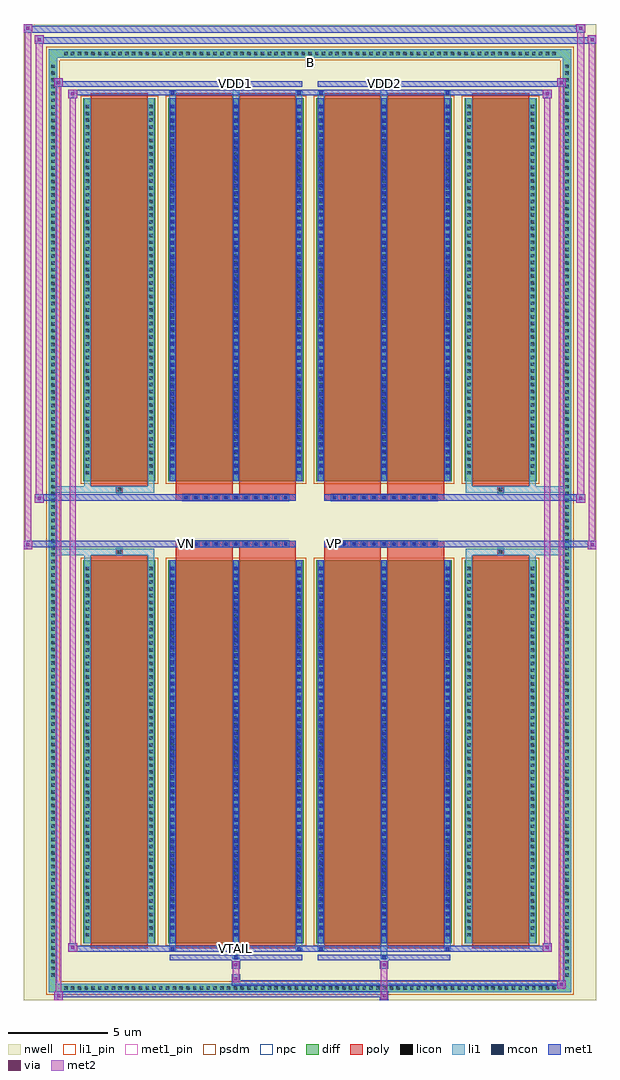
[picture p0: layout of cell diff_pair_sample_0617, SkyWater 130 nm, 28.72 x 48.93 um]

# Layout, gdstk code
import gdstk
lib = gdstk.Library(unit=1e-6, precision=5e-09)
def R(c, l, rs):  # rectangles x0, y0, x1, y1
    for r in rs: c.add(gdstk.rectangle(r[:2], r[2:], *l))
def A(c, l, x, y, w, h, nx, ny, dx, dy):  # array of equal rectangles
    R(c, l, [(x+i*dx, y+j*dy, x+i*dx+w, y+j*dy+h) for i in range(nx) for j in range(ny)])
def P(c, l, *ps):  # polygons
    for p in ps: c.add(gdstk.Polygon(p, *l))
nwell = (64, 20)
diff = (65, 20)
poly = (66, 20)
licon = (66, 44)
li1_pin = (67, 16)
li1 = (67, 20)
mcon = (67, 44)
met1_pin = (68, 16)
met1 = (68, 20)
via = (68, 44)
met2 = (69, 20)
psdm = (94, 20)
npc = (95, 20)

diff_pair_sample_0617 = lib.new_cell('diff_pair_sample_0617')
R(diff_pair_sample_0617, nwell, [(-14.36,-24.03,14.36,24.9), (-11.68,-22.22,-0.01,-0.8), (0.01,-22.22,11.68,-0.8), (-11.68,0.8,-0.01,22.22), (0.01,0.8,11.68,22.22)])
A(diff_pair_sample_0617, diff, -12.445, -23.63, 0.41, 0.41, 73, 2, 0.34, 46.85)
A(diff_pair_sample_0617, diff, -13.09, -22.985, 0.41, 0.41, 1, 135, 0, 0.34)
A(diff_pair_sample_0617, diff, 12.68, -22.985, 0.41, 0.41, 1, 135, 0, 0.34)
R(diff_pair_sample_0617, diff, [(-12.445,-23.63,12.445,-23.22), (-13.09,-22.985,-12.68,22.985), (12.68,-22.985,13.09,22.985), (-11.37,-21.175,-7.75,-1.985), (-7.11,-21.175,-0.32,-1.985), (0.32,-21.175,7.11,-1.985), (7.75,-21.175,11.37,-1.985), (-11.37,1.985,-7.75,21.175), (-7.11,1.985,-0.32,21.175), (0.32,1.985,7.11,21.175), (7.75,1.985,11.37,21.175), (-12.445,23.22,12.445,23.63)])
P(diff_pair_sample_0617, diff, [(13.09,23.63),(-13.09,23.63),(-13.09,-23.22),(-12.68,-23.22),(-12.68,23.22),(12.68,23.22),(12.68,-23.22),(-12.68,-23.22),(-13.09,-23.22),(-13.09,-23.63),(13.09,-23.63)])
A(diff_pair_sample_0617, poly, -6.38, -1.33, 0.33, 0.33, 11, 2, 0.5, 2.33)
A(diff_pair_sample_0617, poly, 1.05, -1.33, 0.33, 0.33, 11, 2, 0.5, 2.33)
R(diff_pair_sample_0617, poly, [(-10.98,-21.425,-8.14,-1.735), (-6.72,-21.425,-3.88,-1.735), (-3.55,-21.425,-0.71,-1.735), (0.71,-21.425,3.55,-1.735), (3.88,-21.425,6.72,-1.735), (8.14,-21.425,10.98,-1.735), (-9.725,-1.735,-9.395,-1.405), (-9.725,-1.735,-9.395,-1.405), (-6.72,-1.735,-3.88,-1.33), (-3.55,-1.735,-0.71,-1.33), (0.71,-1.735,3.55,-1.33), (3.88,-1.735,6.72,-1.33), (9.395,-1.735,9.725,-1.405), (9.395,-1.735,9.725,-1.405), (-6.72,-1.33,-0.71,-1), (0.71,-1.33,6.72,-1), (-6.72,1,-0.71,1.33), (0.71,1,6.72,1.33), (-6.72,1.33,-3.88,1.735), (-3.55,1.33,-0.71,1.735), (0.71,1.33,3.55,1.735), (3.88,1.33,6.72,1.735), (-9.725,1.405,-9.395,1.735), (-9.725,1.405,-9.395,1.735), (9.395,1.405,9.725,1.735), (9.395,1.405,9.725,1.735), (-10.98,1.735,-8.14,21.425), (-6.72,1.735,-3.88,21.425), (-3.55,1.735,-0.71,21.425), (0.71,1.735,3.55,21.425), (3.88,1.735,6.72,21.425), (8.14,1.735,10.98,21.425)])
A(diff_pair_sample_0617, licon, -12.325, -23.51, 0.17, 0.17, 73, 2, 0.34, 46.85)
A(diff_pair_sample_0617, licon, -12.97, -22.865, 0.17, 0.17, 1, 135, 0, 0.34)
A(diff_pair_sample_0617, licon, 12.8, -22.865, 0.17, 0.17, 1, 135, 0, 0.34)
A(diff_pair_sample_0617, licon, -11.23, -20.845, 0.17, 0.17, 1, 55, 0, 0.34)
A(diff_pair_sample_0617, licon, -8.06, -20.845, 0.17, 0.17, 1, 55, 0, 0.34)
A(diff_pair_sample_0617, licon, -6.97, -20.845, 0.17, 0.17, 3, 55, 3.17, 0.34)
A(diff_pair_sample_0617, licon, 0.46, -20.845, 0.17, 0.17, 3, 55, 3.17, 0.34)
A(diff_pair_sample_0617, licon, 7.89, -20.845, 0.17, 0.17, 1, 55, 0, 0.34)
A(diff_pair_sample_0617, licon, 11.06, -20.845, 0.17, 0.17, 1, 55, 0, 0.34)
A(diff_pair_sample_0617, licon, -6.3, -1.25, 0.17, 0.17, 11, 2, 0.5, 2.33)
A(diff_pair_sample_0617, licon, 1.13, -1.25, 0.17, 0.17, 11, 2, 0.5, 2.33)
A(diff_pair_sample_0617, licon, -11.23, 2.315, 0.17, 0.17, 1, 55, 0, 0.34)
A(diff_pair_sample_0617, licon, -8.06, 2.315, 0.17, 0.17, 1, 55, 0, 0.34)
A(diff_pair_sample_0617, licon, -6.97, 2.315, 0.17, 0.17, 3, 55, 3.17, 0.34)
A(diff_pair_sample_0617, licon, 0.46, 2.315, 0.17, 0.17, 3, 55, 3.17, 0.34)
A(diff_pair_sample_0617, licon, 7.89, 2.315, 0.17, 0.17, 1, 55, 0, 0.34)
A(diff_pair_sample_0617, licon, 11.06, 2.315, 0.17, 0.17, 1, 55, 0, 0.34)
R(diff_pair_sample_0617, licon, [(-9.645,-1.655,-9.475,-1.485), (9.475,-1.655,9.645,-1.485), (-9.645,1.485,-9.475,1.655), (9.475,1.485,9.645,1.655)])
R(diff_pair_sample_0617, li1_pin, [(-0.25,22.72,0.25,23.22)])
A(diff_pair_sample_0617, li1, -12.405, -23.59, 0.33, 0.33, 73, 2, 0.34, 46.85)
A(diff_pair_sample_0617, li1, -13.05, -22.945, 0.33, 0.33, 1, 135, 0, 0.34)
A(diff_pair_sample_0617, li1, 12.72, -22.945, 0.33, 0.33, 1, 135, 0, 0.34)
A(diff_pair_sample_0617, li1, -7.05, -21.175, 0.33, 19.19, 3, 2, 3.17, 23.16)
A(diff_pair_sample_0617, li1, 0.38, -21.175, 0.33, 19.19, 3, 2, 3.17, 23.16)
A(diff_pair_sample_0617, li1, -11.31, -20.925, 0.33, 0.33, 1, 55, 0, 0.34)
A(diff_pair_sample_0617, li1, -8.14, -20.925, 0.33, 0.33, 1, 55, 0, 0.34)
A(diff_pair_sample_0617, li1, -7.05, -20.925, 0.33, 0.33, 3, 55, 3.17, 0.34)
A(diff_pair_sample_0617, li1, 0.38, -20.925, 0.33, 0.33, 3, 55, 3.17, 0.34)
A(diff_pair_sample_0617, li1, 7.81, -20.925, 0.33, 0.33, 1, 55, 0, 0.34)
A(diff_pair_sample_0617, li1, 10.98, -20.925, 0.33, 0.33, 1, 55, 0, 0.34)
A(diff_pair_sample_0617, li1, -6.97, -20.845, 0.17, 0.17, 3, 52, 3.17, 0.36)
A(diff_pair_sample_0617, li1, -6.97, -20.845, 0.17, 18.53, 3, 2, 3.17, 23.16)
A(diff_pair_sample_0617, li1, 0.46, -20.845, 0.17, 0.17, 3, 52, 3.17, 0.36)
A(diff_pair_sample_0617, li1, 0.46, -20.845, 0.17, 18.53, 3, 2, 3.17, 23.16)
A(diff_pair_sample_0617, li1, -6.38, -1.33, 0.33, 0.33, 11, 2, 0.5, 2.33)
A(diff_pair_sample_0617, li1, 1.05, -1.33, 0.33, 0.33, 11, 2, 0.5, 2.33)
A(diff_pair_sample_0617, li1, -11.31, 2.235, 0.33, 0.33, 1, 55, 0, 0.34)
A(diff_pair_sample_0617, li1, -8.14, 2.235, 0.33, 0.33, 1, 55, 0, 0.34)
A(diff_pair_sample_0617, li1, -7.05, 2.235, 0.33, 0.33, 3, 55, 3.17, 0.34)
A(diff_pair_sample_0617, li1, 0.38, 2.235, 0.33, 0.33, 3, 55, 3.17, 0.34)
A(diff_pair_sample_0617, li1, 7.81, 2.235, 0.33, 0.33, 1, 55, 0, 0.34)
A(diff_pair_sample_0617, li1, 10.98, 2.235, 0.33, 0.33, 1, 55, 0, 0.34)
A(diff_pair_sample_0617, li1, -6.97, 2.315, 0.17, 0.17, 3, 52, 3.17, 0.36)
A(diff_pair_sample_0617, li1, 0.46, 2.315, 0.17, 0.17, 3, 52, 3.17, 0.36)
R(diff_pair_sample_0617, li1, [(-13.09,-23.63,-12.68,-23.22), (-13.09,-23.63,-12.68,-23.22), (-12.68,-23.63,12.68,-23.22), (12.68,-23.63,13.09,-23.22), (12.68,-23.63,13.09,-23.22), (-13.09,-23.22,-12.68,23.22), (12.68,-23.22,13.09,23.22), (-3.88,-21.98,-3.55,-21.175), (-3.8,-21.98,-3.63,-21.81), (3.55,-21.98,3.88,-21.175), (3.63,-21.98,3.8,-21.81), (-7.05,-21.55,-6.72,-21.175), (-6.97,-21.55,-6.8,-21.38), (-0.71,-21.55,-0.38,-21.175), (-0.63,-21.55,-0.46,-21.38), (0.38,-21.55,0.71,-21.175), (0.46,-21.55,0.63,-21.38), (6.72,-21.55,7.05,-21.175), (6.8,-21.55,6.97,-21.38), (-11.31,-21.175,-10.98,-1.985), (-8.14,-21.175,-7.81,-1.985), (7.81,-21.175,8.14,-1.985), (10.98,-21.175,11.31,-1.985), (-11.31,-1.985,-10.98,-1.405), (-8.14,-1.985,-7.81,-1.405), (7.81,-1.985,8.14,-1.405), (10.98,-1.985,11.31,-1.405), (-13.09,-1.735,-9.725,-1.405), (-11.31,-1.735,-9.725,-1.405), (-9.725,-1.735,-9.395,-1.405), (-9.395,-1.735,-7.81,-1.405), (7.81,-1.735,9.395,-1.405), (9.395,-1.735,9.725,-1.405), (9.395,-1.735,13.09,-1.405), (9.725,-1.735,11.31,-1.405), (-13.09,1.405,-9.725,1.735), (-11.31,1.405,-9.725,1.735), (-11.31,1.405,-10.98,1.985), (-9.725,1.405,-9.395,1.735), (-9.395,1.405,-7.81,1.735), (-8.14,1.405,-7.81,1.985), (7.81,1.405,9.395,1.735), (7.81,1.405,8.14,1.985), (9.395,1.405,9.725,1.735), (9.395,1.405,13.09,1.735), (9.725,1.405,11.31,1.735), (10.98,1.405,11.31,1.985), (-11.31,1.985,-10.98,21.175), (-8.14,1.985,-7.81,21.175), (7.81,1.985,8.14,21.175), (10.98,1.985,11.31,21.175), (-7.05,21.175,-6.72,21.55), (-3.88,21.175,-3.55,21.98), (-0.71,21.175,-0.38,21.55), (0.38,21.175,0.71,21.55), (3.55,21.175,3.88,21.98), (6.72,21.175,7.05,21.55), (-6.97,21.38,-6.8,21.55), (-0.63,21.38,-0.46,21.55), (0.46,21.38,0.63,21.55), (6.8,21.38,6.97,21.55), (-3.8,21.81,-3.63,21.98), (3.63,21.81,3.8,21.98), (-13.09,23.22,-12.68,23.63), (-13.09,23.22,-12.68,23.63), (-12.68,23.22,12.68,23.63), (12.68,23.22,13.09,23.63), (12.68,23.22,13.09,23.63)])
A(diff_pair_sample_0617, mcon, -6.97, -20.845, 0.17, 0.17, 3, 52, 3.17, 0.36)
A(diff_pair_sample_0617, mcon, 0.46, -20.845, 0.17, 0.17, 3, 52, 3.17, 0.36)
A(diff_pair_sample_0617, mcon, -6.3, -1.25, 0.17, 0.17, 11, 2, 0.5, 2.33)
A(diff_pair_sample_0617, mcon, 1.13, -1.25, 0.17, 0.17, 11, 2, 0.5, 2.33)
A(diff_pair_sample_0617, mcon, -6.97, 2.315, 0.17, 0.17, 3, 52, 3.17, 0.36)
A(diff_pair_sample_0617, mcon, 0.46, 2.315, 0.17, 0.17, 3, 52, 3.17, 0.36)
R(diff_pair_sample_0617, mcon, [(-3.8,-21.98,-3.63,-21.81), (3.63,-21.98,3.8,-21.81), (-6.97,-21.55,-6.8,-21.38), (-0.63,-21.55,-0.46,-21.38), (0.46,-21.55,0.63,-21.38), (6.8,-21.55,6.97,-21.38), (-6.97,21.38,-6.8,21.55), (-0.63,21.38,-0.46,21.55), (0.46,21.38,0.63,21.55), (6.8,21.38,6.97,21.55), (-3.8,21.81,-3.63,21.98), (3.63,21.81,3.8,21.98)])
R(diff_pair_sample_0617, met1_pin, [(-3.85,-21.59,-3.58,-21.32), (-6.35,-1.29,-6.08,-1.02), (1.08,-1.29,1.35,-1.02), (-3.85,21.77,-3.58,22.04), (3.58,21.77,3.85,22.04)])
A(diff_pair_sample_0617, met1, -7.03, -21.175, 0.29, 19.19, 3, 2, 3.17, 23.16)
A(diff_pair_sample_0617, met1, 0.4, -21.175, 0.29, 19.19, 3, 2, 3.17, 23.16)
A(diff_pair_sample_0617, met1, -7.03, -20.905, 0.29, 0.29, 3, 52, 3.17, 0.36)
A(diff_pair_sample_0617, met1, 0.4, -20.905, 0.29, 0.29, 3, 52, 3.17, 0.36)
A(diff_pair_sample_0617, met1, -6.36, -1.31, 0.29, 0.29, 11, 2, 0.5, 2.33)
A(diff_pair_sample_0617, met1, 1.07, -1.31, 0.29, 0.29, 11, 2, 0.5, 2.33)
A(diff_pair_sample_0617, met1, -7.03, 2.255, 0.29, 0.29, 3, 52, 3.17, 0.36)
A(diff_pair_sample_0617, met1, 0.4, 2.255, 0.29, 0.29, 3, 52, 3.17, 0.36)
R(diff_pair_sample_0617, met1, [(-12.82,-24.03,-12.39,-23.6), (3.5,-24.03,3.93,-23.6), (-12.82,-23.89,3.93,-23.6), (12.39,-23.46,12.82,-23.03), (-3.93,-23.32,12.82,-23.03), (-3.93,-23.18,-3.5,-22.75), (-3.93,-22.47,-3.5,-22.04), (3.5,-22.47,3.93,-22.04), (-7.03,-22.04,-0.4,-21.75), (-3.86,-22.04,-3.57,-21.75), (0.4,-22.04,7.03,-21.75), (3.57,-22.04,3.86,-21.75), (-12.11,-21.61,-11.68,-21.18), (-12.11,-21.61,-7.03,-21.32), (-7.03,-21.61,-6.74,-21.32), (-7.03,-21.61,-0.4,-21.32), (-0.69,-21.61,-0.4,-21.32), (-0.4,-21.61,0.4,-21.32), (0.4,-21.61,0.69,-21.32), (0.4,-21.61,7.03,-21.32), (6.74,-21.61,7.03,-21.32), (7.03,-21.61,12.11,-21.32), (11.68,-21.61,12.11,-21.18), (-14.36,-1.43,-13.93,-1), (13.93,-1.43,14.36,-1), (-14.36,-1.33,-0.71,-1), (-6.72,-1.33,-0.71,-1), (0.71,-1.33,6.72,-1), (0.71,-1.33,14.36,-1), (-13.79,0.9,-13.36,1.33), (13.36,0.9,13.79,1.33), (-13.79,1,-6.72,1.33), (-6.72,1,-0.71,1.33), (0.71,1,6.72,1.33), (6.72,1,13.79,1.33), (-12.11,21.18,-11.68,21.61), (11.68,21.18,12.11,21.61), (-12.11,21.32,-7.03,21.61), (-7.03,21.32,-6.74,21.61), (-7.03,21.32,-0.4,21.61), (-0.69,21.32,-0.4,21.61), (-0.4,21.32,0.4,21.61), (0.4,21.32,0.69,21.61), (0.4,21.32,7.03,21.61), (6.74,21.32,7.03,21.61), (7.03,21.32,12.11,21.61), (-12.82,21.75,-12.39,22.18), (-12.82,21.75,-7.03,22.04), (-7.03,21.75,-0.4,22.04), (-3.86,21.75,-3.57,22.04), (0.4,21.75,7.03,22.04), (3.57,21.75,3.86,22.04), (7.03,21.75,12.82,22.04), (12.39,21.75,12.82,22.18), (-13.79,23.9,-13.36,24.33), (-13.79,23.9,-11.68,24.23), (-11.68,23.9,11.68,24.23), (11.68,23.9,14.36,24.23), (13.93,23.9,14.36,24.33), (-14.36,24.47,-13.93,24.9), (-14.36,24.47,-11.68,24.8), (-11.68,24.47,11.68,24.8), (11.68,24.47,13.79,24.8), (13.36,24.47,13.79,24.9)])
R(diff_pair_sample_0617, via, [(-12.68,-23.89,-12.53,-23.74), (3.64,-23.89,3.79,-23.74), (12.53,-23.32,12.68,-23.17), (-3.79,-23.04,-3.64,-22.89), (-3.79,-22.33,-3.64,-22.18), (3.64,-22.33,3.79,-22.18), (-11.97,-21.47,-11.82,-21.32), (11.82,-21.47,11.97,-21.32), (-14.22,-1.29,-14.07,-1.14), (14.07,-1.29,14.22,-1.14), (-13.65,1.04,-13.5,1.19), (13.5,1.04,13.65,1.19), (-11.97,21.32,-11.82,21.47), (11.82,21.32,11.97,21.47), (-12.68,21.89,-12.53,22.04), (12.53,21.89,12.68,22.04), (-13.65,24.04,-13.5,24.19), (14.07,24.04,14.22,24.19), (-14.22,24.61,-14.07,24.76), (13.5,24.61,13.65,24.76)])
R(diff_pair_sample_0617, met2, [(-12.82,-24.03,-12.39,-23.6), (-12.75,-24.03,-12.46,22.18), (-12.46,-24.03,-12.39,-23.6), (-12.77,-23.98,-12.44,-23.65), (3.55,-23.98,3.88,-23.65), (3.55,-23.65,3.88,-22.42), (12.39,-23.46,12.82,-23.03), (12.46,-23.46,12.75,22.18), (12.75,-23.46,12.82,-23.03), (12.44,-23.41,12.77,-23.08), (-3.88,-23.13,-3.55,-22.8), (-3.88,-22.8,-3.55,-22.42), (-3.88,-22.42,-3.55,-22.09), (3.55,-22.42,3.88,-22.09), (-12.11,-21.61,-11.68,-21.18), (-12.04,-21.61,-11.75,21.61), (-11.75,-21.61,-11.68,-21.18), (11.68,-21.61,12.11,-21.18), (11.75,-21.61,12.04,21.61), (12.04,-21.61,12.11,-21.18), (-12.06,-21.56,-11.73,-21.23), (11.73,-21.56,12.06,-21.23), (-14.36,-1.43,-13.93,-1), (-14.31,-1.43,-13.98,24.9), (-13.98,-1.43,-13.93,-1), (13.93,-1.43,14.36,-1), (13.98,-1.43,14.31,24.33), (14.31,-1.43,14.36,-1), (-14.31,-1.38,-13.98,-1.05), (13.98,-1.38,14.31,-1.05), (-13.79,0.9,-13.36,1.33), (-13.74,0.9,-13.41,24.33), (-13.41,0.9,-13.36,1.33), (13.36,0.9,13.79,1.33), (13.41,0.9,13.74,24.9), (13.74,0.9,13.79,1.33), (-13.74,0.95,-13.41,1.28), (13.41,0.95,13.74,1.28), (-12.11,21.18,-11.68,21.61), (-11.75,21.18,-11.68,21.61), (11.68,21.18,12.11,21.61), (12.04,21.18,12.11,21.61), (-12.06,21.23,-11.73,21.56), (11.73,21.23,12.06,21.56), (-12.82,21.75,-12.39,22.18), (-12.46,21.75,-12.39,22.18), (12.39,21.75,12.82,22.18), (12.75,21.75,12.82,22.18), (-12.77,21.8,-12.44,22.13), (12.44,21.8,12.77,22.13), (-13.79,23.9,-13.36,24.33), (-13.41,23.9,-13.36,24.33), (13.93,23.9,14.36,24.33), (14.31,23.9,14.36,24.33), (-13.74,23.95,-13.41,24.28), (13.98,23.95,14.31,24.28), (-14.36,24.47,-13.93,24.9), (-13.98,24.47,-13.93,24.9), (13.36,24.47,13.79,24.9), (13.74,24.47,13.79,24.9), (-14.31,24.52,-13.98,24.85), (13.41,24.52,13.74,24.85)])
R(diff_pair_sample_0617, psdm, [(-11.5,-21.305,-7.62,-1.855), (-7.24,-21.305,-0.19,-1.855), (0.19,-21.305,7.24,-1.855), (7.62,-21.305,11.5,-1.855), (-11.5,1.855,-7.62,21.305), (-7.24,1.855,-0.19,21.305), (0.19,1.855,7.24,21.305), (7.62,1.855,11.5,21.305)])
P(diff_pair_sample_0617, psdm, [(13.22,23.76),(-13.22,23.76),(-13.22,-23.09),(-12.55,-23.09),(-12.55,23.09),(12.55,23.09),(12.55,-23.09),(-12.55,-23.09),(-13.22,-23.09),(-13.22,-23.76),(13.22,-23.76)])
A(diff_pair_sample_0617, npc, -6.4, -1.35, 0.37, 0.37, 11, 2, 0.5, 2.33)
A(diff_pair_sample_0617, npc, 1.03, -1.35, 0.37, 0.37, 11, 2, 0.5, 2.33)
R(diff_pair_sample_0617, npc, [(-9.745,-1.755,-9.375,-1.385), (9.375,-1.755,9.745,-1.385), (-6.4,-1.35,-5.53,-0.98), (-6.4,-1.35,-5.53,-0.98), (-5.9,-1.35,-5.03,-0.98), (-5.9,-1.35,-5.03,-0.98), (-5.4,-1.35,-4.53,-0.98), (-5.4,-1.35,-4.53,-0.98), (-4.9,-1.35,-4.03,-0.98), (-4.9,-1.35,-4.03,-0.98), (-4.4,-1.35,-3.53,-0.98), (-4.4,-1.35,-3.53,-0.98), (-3.9,-1.35,-3.03,-0.98), (-3.9,-1.35,-3.03,-0.98), (-3.4,-1.35,-2.53,-0.98), (-3.4,-1.35,-2.53,-0.98), (-2.9,-1.35,-2.03,-0.98), (-2.9,-1.35,-2.03,-0.98), (-2.4,-1.35,-1.53,-0.98), (-2.4,-1.35,-1.53,-0.98), (-1.9,-1.35,-1.03,-0.98), (-1.9,-1.35,-1.03,-0.98), (1.03,-1.35,1.9,-0.98), (1.03,-1.35,1.9,-0.98), (1.53,-1.35,2.4,-0.98), (1.53,-1.35,2.4,-0.98), (2.03,-1.35,2.9,-0.98), (2.03,-1.35,2.9,-0.98), (2.53,-1.35,3.4,-0.98), (2.53,-1.35,3.4,-0.98), (3.03,-1.35,3.9,-0.98), (3.03,-1.35,3.9,-0.98), (3.53,-1.35,4.4,-0.98), (3.53,-1.35,4.4,-0.98), (4.03,-1.35,4.9,-0.98), (4.03,-1.35,4.9,-0.98), (4.53,-1.35,5.4,-0.98), (4.53,-1.35,5.4,-0.98), (5.03,-1.35,5.9,-0.98), (5.03,-1.35,5.9,-0.98), (5.53,-1.35,6.4,-0.98), (5.53,-1.35,6.4,-0.98), (-6.4,0.98,-5.53,1.35), (-6.4,0.98,-5.53,1.35), (-5.9,0.98,-5.03,1.35), (-5.9,0.98,-5.03,1.35), (-5.4,0.98,-4.53,1.35), (-5.4,0.98,-4.53,1.35), (-4.9,0.98,-4.03,1.35), (-4.9,0.98,-4.03,1.35), (-4.4,0.98,-3.53,1.35), (-4.4,0.98,-3.53,1.35), (-3.9,0.98,-3.03,1.35), (-3.9,0.98,-3.03,1.35), (-3.4,0.98,-2.53,1.35), (-3.4,0.98,-2.53,1.35), (-2.9,0.98,-2.03,1.35), (-2.9,0.98,-2.03,1.35), (-2.4,0.98,-1.53,1.35), (-2.4,0.98,-1.53,1.35), (-1.9,0.98,-1.03,1.35), (-1.9,0.98,-1.03,1.35), (1.03,0.98,1.9,1.35), (1.03,0.98,1.9,1.35), (1.53,0.98,2.4,1.35), (1.53,0.98,2.4,1.35), (2.03,0.98,2.9,1.35), (2.03,0.98,2.9,1.35), (2.53,0.98,3.4,1.35), (2.53,0.98,3.4,1.35), (3.03,0.98,3.9,1.35), (3.03,0.98,3.9,1.35), (3.53,0.98,4.4,1.35), (3.53,0.98,4.4,1.35), (4.03,0.98,4.9,1.35), (4.03,0.98,4.9,1.35), (4.53,0.98,5.4,1.35), (4.53,0.98,5.4,1.35), (5.03,0.98,5.9,1.35), (5.03,0.98,5.9,1.35), (5.53,0.98,6.4,1.35), (5.53,0.98,6.4,1.35), (-9.745,1.385,-9.375,1.755), (9.375,1.385,9.745,1.755)])
diff_pair_sample_0617.add(gdstk.Label('VTAIL', (-3.715,-21.455), layer=68, texttype=5))
diff_pair_sample_0617.add(gdstk.Label('VN', (-6.215,-1.155), layer=68, texttype=5))
diff_pair_sample_0617.add(gdstk.Label('VP', (1.215,-1.155), layer=68, texttype=5))
diff_pair_sample_0617.add(gdstk.Label('B', (0,22.97), layer=67, texttype=5))
diff_pair_sample_0617.add(gdstk.Label('VDD2', (3.715,21.905), layer=68, texttype=5))
diff_pair_sample_0617.add(gdstk.Label('VDD1', (-3.715,21.905), layer=68, texttype=5))

lib.write_gds('diff_pair_sample_0617.gds')
